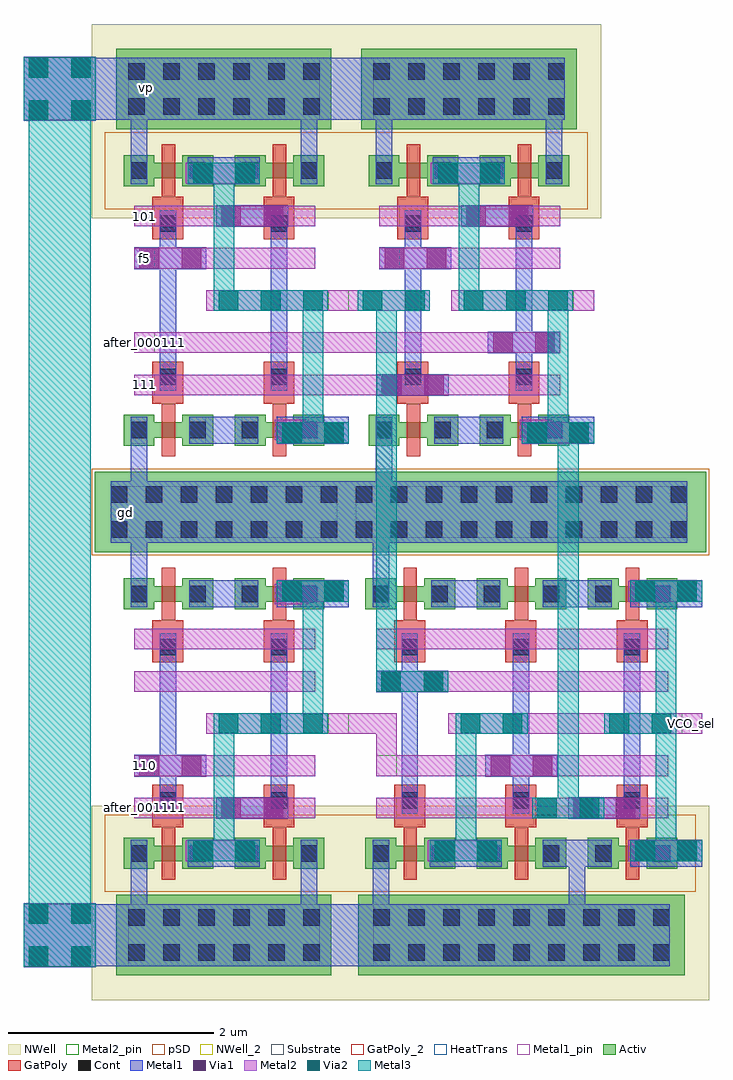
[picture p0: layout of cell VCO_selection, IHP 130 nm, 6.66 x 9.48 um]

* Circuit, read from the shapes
.subckt VCO_selection 101 110 111 VCO_sel after_000111 after_001111 f5 gd vp
XM1 n1 110 gd gd sg13_lv_nmos w=0.15u l=0.13u
XM2 n2 f5 gd gd sg13_lv_nmos w=0.15u l=0.13u
XM3 NAND_3in_3/b after_001111 n1 gd sg13_lv_nmos w=0.15u l=0.13u
XM4 NAND_3in_3/c 101 n2 gd sg13_lv_nmos w=0.15u l=0.13u
XM5 n3 NAND_3in_3/c gd gd sg13_lv_nmos w=0.15u l=0.13u
XM6 n4 111 gd gd sg13_lv_nmos w=0.15u l=0.13u
XM7 n5 NAND_3in_3/b n3 gd sg13_lv_nmos w=0.15u l=0.13u
XM8 NAND_3in_3/a after_000111 n4 gd sg13_lv_nmos w=0.15u l=0.13u
XM9 VCO_sel NAND_3in_3/a n5 gd sg13_lv_nmos w=0.15u l=0.13u
XM10 NAND_3in_3/b 110 vp vp sg13_lv_pmos w=0.15u l=0.13u
XM11 NAND_3in_3/c f5 vp vp sg13_lv_pmos w=0.15u l=0.13u
XM12 vp after_001111 NAND_3in_3/b vp sg13_lv_pmos w=0.15u l=0.13u
XM13 vp 101 NAND_3in_3/c vp sg13_lv_pmos w=0.15u l=0.13u
XM14 VCO_sel NAND_3in_3/c vp vp sg13_lv_pmos w=0.15u l=0.13u
XM15 NAND_3in_3/a 111 vp vp sg13_lv_pmos w=0.15u l=0.13u
XM16 vp NAND_3in_3/b VCO_sel vp sg13_lv_pmos w=0.15u l=0.13u
XM17 vp after_000111 NAND_3in_3/a vp sg13_lv_pmos w=0.15u l=0.13u
XM18 VCO_sel NAND_3in_3/a vp vp sg13_lv_pmos w=0.15u l=0.13u
.ends

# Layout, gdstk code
from math import pi, radians
import gdstk
lib = gdstk.Library(unit=1e-6, precision=1e-09)
def R(c, l, rs):  # rectangles x0, y0, x1, y1
    for r in rs: c.add(gdstk.rectangle(r[:2], r[2:], *l))
def A(c, l, x, y, w, h, nx, ny, dx, dy):  # array of equal rectangles
    R(c, l, [(x+i*dx, y+j*dy, x+i*dx+w, y+j*dy+h) for i in range(nx) for j in range(ny)])
Activ = (1, 0)
GatPoly = (5, 0)
GatPoly_2 = (5, 2)
Cont = (6, 0)
Metal1 = (8, 0)
Metal1_pin = (8, 2)
Metal2 = (10, 0)
Metal2_pin = (10, 2)
pSD = (14, 0)
Via1 = (19, 0)
Via2 = (29, 0)
Metal3 = (30, 0)
NWell = (31, 0)
NWell_2 = (31, 2)
Substrate = (40, 0)
HeatTrans = (51, 0)

via_4_4 = lib.new_cell('Via$4$4')
R(via_4_4, Metal2, [(-0.1,-0.35,0.1,0.35)])
R(via_4_4, Via2, [(-0.095,-0.3,0.095,-0.11), (-0.095,0.11,0.095,0.3)])
R(via_4_4, Metal3, [(-0.1,-0.35,0.1,0.35)])

via_2_4 = lib.new_cell('Via$2$4')
R(via_2_4, Metal1, [(-0.105,-0.35,0.105,0.35)])
R(via_2_4, Metal2, [(-0.1,-0.35,0.1,0.35)])
R(via_2_4, Via1, [(-0.095,-0.3,0.095,-0.11), (-0.095,0.11,0.095,0.3)])

ntap1_4 = lib.new_cell('ntap1$4')
R(ntap1_4, Activ, [(0,0,2.09,0.78)])
A(ntap1_4, Cont, 0.115, 0.14, 0.16, 0.16, 6, 2, 0.34, 0.34)
R(ntap1_4, Metal1, [(0.115,0.09,1.975,0.69)])
R(ntap1_4, Metal1_pin, [(0.115,0.09,1.975,0.69), (0.115,0.14,1.975,0.64)])
R(ntap1_4, NWell, [(-0.24,-0.24,2.33,1.02), (0,0,2.09,0.78)])
R(ntap1_4, NWell_2, [(0,0,2.09,0.78)])
ntap1_4.add(gdstk.Label('well', (1.045,0.01), layer=63, texttype=0))
ntap1_4.add(gdstk.Label('well', (1.045,0.01), layer=31, texttype=0))

ptap1_5 = lib.new_cell('ptap1$5')
R(ptap1_5, Activ, [(0,0,2.51,0.78)])
A(ptap1_5, Cont, 0.155, 0.14, 0.16, 0.16, 7, 2, 0.34, 0.34)
R(ptap1_5, Metal1, [(0.155,0.09,2.355,0.69), (0.155,0.14,2.355,0.64)])
R(ptap1_5, Metal1_pin, [(0.155,0.14,2.355,0.64)])
R(ptap1_5, pSD, [(-0.03,-0.03,2.54,0.81)])
R(ptap1_5, Substrate, [(0,0,2.51,0.78)])
ptap1_5.add(gdstk.Label('sub!', (1.255,0.01), layer=63, texttype=0))
ptap1_5.add(gdstk.Label('sub!', (1.255,0.01), layer=40, texttype=0))

nmos_4 = lib.new_cell('nmos$4')
R(nmos_4, Activ, [(0,0,0.3,0.3), (0.57,0,0.87,0.3), (0,0.075,0.87,0.225)])
R(nmos_4, GatPoly, [(0.37,-0.105,0.5,0.405)])
R(nmos_4, GatPoly_2, [(0.37,-0.105,0.5,0.405)])
R(nmos_4, Cont, [(0.07,0.07,0.23,0.23), (0.64,0.07,0.8,0.23)])
R(nmos_4, Metal1, [(0.07,0.02,0.23,0.28), (0.64,0.02,0.8,0.28)])
R(nmos_4, Metal1_pin, [(0.07,0.02,0.23,0.28), (0.64,0.02,0.8,0.28)])
R(nmos_4, HeatTrans, [(0.37,-0.105,0.5,0.405)])
nmos_4.add(gdstk.Label('nmos', (0.435,0.15), layer=63, texttype=0))
nmos_4.add(gdstk.Label('nmos', (0.435,0.15), layer=51, texttype=0))

pmos_4 = lib.new_cell('pmos$4')
R(pmos_4, Activ, [(0,0,0.3,0.3), (0.57,0,0.87,0.3), (0,0.075,0.87,0.225)])
R(pmos_4, GatPoly, [(0.37,-0.105,0.5,0.405), (0.37,-0.105,0.5,0.405)])
R(pmos_4, Cont, [(0.07,0.07,0.23,0.23), (0.64,0.07,0.8,0.23)])
R(pmos_4, Metal1, [(0.07,0.02,0.23,0.28), (0.07,0.02,0.23,0.28), (0.64,0.02,0.8,0.28), (0.64,0.02,0.8,0.28)])
R(pmos_4, pSD, [(-0.18,-0.225,1.05,0.525)])
R(pmos_4, NWell, [(-0.31,-0.31,1.18,0.61)])
R(pmos_4, Substrate, [(0.57,0,0.87,0.3)])
R(pmos_4, HeatTrans, [(0.37,-0.105,0.5,0.405)])
pmos_4.add(gdstk.Label('pmos', (0.435,0.15), layer=63, texttype=0))
pmos_4.add(gdstk.Label('pmos', (0.435,0.15), layer=51, texttype=0))

via_17 = lib.new_cell('Via$17')
R(via_17, GatPoly, [(-0.15,-0.15,0.15,0.15)])
R(via_17, Cont, [(-0.08,-0.08,0.08,0.08)])
R(via_17, Metal1, [(-0.13,-0.08,0.13,0.08)])

via_7_2 = lib.new_cell('Via$7$2')
R(via_7_2, Metal2, [(-0.555,-0.1,0.555,0.1)])
A(via_7_2, Via2, -0.505, -0.095, 0.19, 0.19, 3, 1, 0.41, 0)
R(via_7_2, Metal3, [(-0.555,-0.1,0.555,0.1)])

via_6_3 = lib.new_cell('Via$6$3')
R(via_6_3, Metal1, [(-0.35,-0.105,0.35,0.105)])
R(via_6_3, Metal2, [(-0.35,-0.1,0.35,0.1)])
R(via_6_3, Via1, [(-0.3,-0.095,-0.11,0.095), (0.11,-0.095,0.3,0.095)])

nand_2in = lib.new_cell('NAND_2in')
R(nand_2in, GatPoly, [(9.375,7.165,9.675,7.275), (10.455,7.165,10.755,7.275), (9.375,9.065,9.675,9.175), (10.455,9.065,10.755,9.175)])
R(nand_2in, Metal1, [(9.735,6.78,10.405,7.04), (10.585,6.78,11.285,7.04), (9.72,9.3,10.42,9.56)])
R(nand_2in, Metal1_pin, [(9.16,6.015,9.36,6.215), (9.325,10.12,9.525,10.32)])
R(nand_2in, Metal2_pin, [(11.085,8.07,11.285,8.27), (9.2,8.48,9.4,8.68), (9.2,8.89,9.4,9.09)])
nand_2in.add(gdstk.FlexPath([(9.245,9.56),(9.245,10.525)], 0.16, ends="flush", simple_path=True, layer=8, datatype=0))  # Metal1
nand_2in.add(gdstk.FlexPath([(10.895,9.56),(10.895,10.525)], 0.16, ends="flush", simple_path=True, layer=8, datatype=0))  # Metal1
nand_2in.add(gdstk.FlexPath([(9.245,6.78),(9.245,6.415)], 0.16, ends="flush", simple_path=True, layer=8, datatype=0))  # Metal1
nand_2in.add(gdstk.FlexPath([(9.525,7.555),(9.525,8.785)], 0.16, ends="flush", simple_path=True, layer=8, datatype=0))  # Metal1
nand_2in.add(gdstk.FlexPath([(10.605,7.555),(10.605,8.785)], 0.16, ends="flush", simple_path=True, layer=8, datatype=0))  # Metal1
nand_2in.add(gdstk.FlexPath([(9.9,8.17),(11.285,8.17)], 0.2, ends="flush", simple_path=True, layer=10, datatype=0))  # Metal2
nand_2in.add(gdstk.FlexPath([(10.895,6.91),(10.565,6.91)], 0.2, ends="flush", simple_path=True, layer=10, datatype=0))  # Metal2
nand_2in.add(gdstk.FlexPath([(9.865,9.405),(9.7,9.405)], 0.2, ends="flush", simple_path=True, layer=10, datatype=0))  # Metal2
nand_2in.add(gdstk.FlexPath([(10.43,8.58),(10.43,8.58)], 0.2, ends="flush", simple_path=True, layer=10, datatype=0))  # Metal2
nand_2in.add(gdstk.FlexPath([(9.2,8.99),(10.955,8.99)], 0.2, ends="flush", simple_path=True, layer=10, datatype=0))  # Metal2
nand_2in.add(gdstk.FlexPath([(9.2,8.58),(10.955,8.58)], 0.2, ends="flush", simple_path=True, layer=10, datatype=0))  # Metal2
nand_2in.add(gdstk.FlexPath([(9.2,7.76),(10.955,7.76)], 0.2, ends="flush", simple_path=True, layer=10, datatype=0))  # Metal2
nand_2in.add(gdstk.FlexPath([(9.2,7.35),(10.955,7.35)], 0.2, ends="flush", simple_path=True, layer=10, datatype=0))  # Metal2
nand_2in.add(gdstk.FlexPath([(10.07,9.305),(10.07,8.07)], 0.2, ends="flush", simple_path=True, layer=30, datatype=0))  # Metal3
nand_2in.add(gdstk.FlexPath([(10.935,6.885),(10.935,8.07)], 0.2, ends="flush", simple_path=True, layer=30, datatype=0))  # Metal3
nand_2in.add(gdstk.Reference(via_4_4, (10.935,6.885), rotation=3*pi/2))
nand_2in.add(gdstk.Reference(via_2_4, (10.935,6.885), rotation=3*pi/2))
nand_2in.add(gdstk.Reference(ntap1_4, (9.025,9.835)))
nand_2in.add(gdstk.Reference(ptap1_5, (8.815,5.725)))
nand_2in.add(gdstk.Reference(nmos_4, (10.175,6.76)))
nand_2in.add(gdstk.Reference(pmos_4, (10.175,9.28)))
nand_2in.add(gdstk.Reference(nmos_4, (9.095,6.76)))
nand_2in.add(gdstk.Reference(pmos_4, (9.095,9.28)))
nand_2in.add(gdstk.Reference(via_17, (9.525,8.915), rotation=pi/2))
nand_2in.add(gdstk.Reference(via_17, (10.605,8.915), rotation=pi/2))
nand_2in.add(gdstk.Reference(via_17, (10.605,7.425), rotation=3*pi/2))
nand_2in.add(gdstk.Reference(via_17, (9.525,7.425), rotation=3*pi/2))
nand_2in.add(gdstk.Reference(via_2_4, (9.55,8.58), rotation=3*pi/2))
nand_2in.add(gdstk.Reference(via_7_2, (10.525,8.17)))
nand_2in.add(gdstk.Reference(via_2_4, (10.07,9.405), rotation=3*pi/2))
nand_2in.add(gdstk.Reference(via_4_4, (10.07,9.405), rotation=3*pi/2))
nand_2in.add(gdstk.Reference(via_6_3, (10.345,8.99)))
nand_2in.add(gdstk.Label('y', (11.185,8.17), layer=10, texttype=25))
nand_2in.add(gdstk.Label('b', (9.315,8.575), layer=10, texttype=25))
nand_2in.add(gdstk.Label('a', (9.3,8.99), layer=10, texttype=25))
nand_2in.add(gdstk.Label('VP', (9.295,10.22), layer=8, texttype=25))
nand_2in.add(gdstk.Label('GND', (9.26,6.115), layer=8, texttype=25))

ntap1_2 = lib.new_cell('ntap1$2')
R(ntap1_2, Activ, [(0,0,3.17,0.78)])
A(ntap1_2, Cont, 0.145, 0.14, 0.16, 0.16, 9, 2, 0.34, 0.34)
R(ntap1_2, Metal1, [(0.145,0.09,3.025,0.69)])
R(ntap1_2, Metal1_pin, [(0.145,0.09,3.025,0.69), (0.145,0.14,3.025,0.64)])
R(ntap1_2, NWell, [(-0.24,-0.24,3.41,1.02), (0,0,3.17,0.78)])
R(ntap1_2, NWell_2, [(0,0,3.17,0.78)])
ntap1_2.add(gdstk.Label('well', (1.585,0.01), layer=63, texttype=0))
ntap1_2.add(gdstk.Label('well', (1.585,0.01), layer=31, texttype=0))

ptap1_3 = lib.new_cell('ptap1$3')
R(ptap1_3, Activ, [(0,0,3.59,0.78)])
A(ptap1_3, Cont, 0.185, 0.14, 0.16, 0.16, 10, 2, 0.34, 0.34)
R(ptap1_3, Metal1, [(0.185,0.09,3.405,0.69), (0.185,0.14,3.405,0.64)])
R(ptap1_3, Metal1_pin, [(0.185,0.14,3.405,0.64)])
R(ptap1_3, pSD, [(-0.03,-0.03,3.62,0.81)])
R(ptap1_3, Substrate, [(0,0,3.59,0.78)])
ptap1_3.add(gdstk.Label('sub!', (1.795,0.01), layer=63, texttype=0))
ptap1_3.add(gdstk.Label('sub!', (1.795,0.01), layer=40, texttype=0))

nmos_2 = lib.new_cell('nmos$2')
R(nmos_2, Activ, [(0,0,0.3,0.3), (0.57,0,0.87,0.3), (0,0.075,0.87,0.225)])
R(nmos_2, GatPoly, [(0.37,-0.105,0.5,0.405)])
R(nmos_2, GatPoly_2, [(0.37,-0.105,0.5,0.405)])
R(nmos_2, Cont, [(0.07,0.07,0.23,0.23), (0.64,0.07,0.8,0.23)])
R(nmos_2, Metal1, [(0.07,0.02,0.23,0.28), (0.64,0.02,0.8,0.28)])
R(nmos_2, Metal1_pin, [(0.07,0.02,0.23,0.28), (0.64,0.02,0.8,0.28)])
R(nmos_2, HeatTrans, [(0.37,-0.105,0.5,0.405)])
nmos_2.add(gdstk.Label('nmos', (0.435,0.15), layer=63, texttype=0))
nmos_2.add(gdstk.Label('nmos', (0.435,0.15), layer=51, texttype=0))

pmos_2 = lib.new_cell('pmos$2')
R(pmos_2, Activ, [(0,0,0.3,0.3), (0.57,0,0.87,0.3), (0,0.075,0.87,0.225)])
R(pmos_2, GatPoly, [(0.37,-0.105,0.5,0.405), (0.37,-0.105,0.5,0.405)])
R(pmos_2, Cont, [(0.07,0.07,0.23,0.23), (0.64,0.07,0.8,0.23)])
R(pmos_2, Metal1, [(0.07,0.02,0.23,0.28), (0.07,0.02,0.23,0.28), (0.64,0.02,0.8,0.28), (0.64,0.02,0.8,0.28)])
R(pmos_2, pSD, [(-0.18,-0.225,1.05,0.525)])
R(pmos_2, NWell, [(-0.31,-0.31,1.18,0.61)])
R(pmos_2, Substrate, [(0.57,0,0.87,0.3)])
R(pmos_2, HeatTrans, [(0.37,-0.105,0.5,0.405)])
pmos_2.add(gdstk.Label('pmos', (0.435,0.15), layer=63, texttype=0))
pmos_2.add(gdstk.Label('pmos', (0.435,0.15), layer=51, texttype=0))

via_14 = lib.new_cell('Via$14')
R(via_14, GatPoly, [(-0.15,-0.15,0.15,0.15)])
R(via_14, Cont, [(-0.08,-0.08,0.08,0.08)])
R(via_14, Metal1, [(-0.13,-0.08,0.13,0.08)])

via_2_2 = lib.new_cell('Via$2$2')
R(via_2_2, Metal1, [(-0.105,-0.35,0.105,0.35)])
R(via_2_2, Metal2, [(-0.1,-0.35,0.1,0.35)])
R(via_2_2, Via1, [(-0.095,-0.3,0.095,-0.11), (-0.095,0.11,0.095,0.3)])

via_8_1 = lib.new_cell('Via$8$1')
R(via_8_1, Metal2, [(-0.35,-0.1,0.35,0.1)])
R(via_8_1, Via2, [(-0.3,-0.095,-0.11,0.095), (0.11,-0.095,0.3,0.095)])
R(via_8_1, Metal3, [(-0.35,-0.1,0.35,0.1)])

via_4_2 = lib.new_cell('Via$4$2')
R(via_4_2, Metal2, [(-0.1,-0.35,0.1,0.35)])
R(via_4_2, Via2, [(-0.095,-0.3,0.095,-0.11), (-0.095,0.11,0.095,0.3)])
R(via_4_2, Metal3, [(-0.1,-0.35,0.1,0.35)])

via_6_1 = lib.new_cell('Via$6$1')
R(via_6_1, Metal1, [(-0.35,-0.105,0.35,0.105)])
R(via_6_1, Metal2, [(-0.35,-0.1,0.35,0.1)])
R(via_6_1, Via1, [(-0.3,-0.095,-0.11,0.095), (0.11,-0.095,0.3,0.095)])

nand_3in = lib.new_cell('NAND_3in')
A(nand_3in, GatPoly, 9.375, 7.165, 0.3, 0.11, 3, 2, 1.08, 1.9)
R(nand_3in, Metal1, [(9.735,6.78,10.405,7.04), (10.815,6.78,11.485,7.04), (11.665,6.78,12.365,7.04), (9.72,9.3,10.42,9.56), (10.815,9.3,11.485,9.56), (11.665,9.3,12.365,9.56)])
R(nand_3in, Metal1_pin, [(9.16,6.015,9.36,6.215), (9.325,10.12,9.525,10.32)])
R(nand_3in, Metal2_pin, [(9.2,7.66,9.4,7.86), (12.165,8.07,12.365,8.27), (9.2,8.48,9.4,8.68), (9.2,8.89,9.4,9.09)])
nand_3in.add(gdstk.FlexPath([(11.685,7.555),(11.685,8.785)], 0.16, ends="flush", simple_path=True, layer=8, datatype=0))  # Metal1
nand_3in.add(gdstk.FlexPath([(11.15,9.56),(11.15,9.925)], 0.16, ends="flush", simple_path=True, layer=8, datatype=0))  # Metal1
nand_3in.add(gdstk.FlexPath([(9.245,9.56),(9.245,10.525)], 0.16, ends="flush", simple_path=True, layer=8, datatype=0))  # Metal1
nand_3in.add(gdstk.FlexPath([(9.245,6.78),(9.245,6.415)], 0.16, ends="flush", simple_path=True, layer=8, datatype=0))  # Metal1
nand_3in.add(gdstk.FlexPath([(9.525,7.555),(9.525,8.785)], 0.16, ends="flush", simple_path=True, layer=8, datatype=0))  # Metal1
nand_3in.add(gdstk.FlexPath([(10.605,7.555),(10.605,8.785)], 0.16, ends="flush", simple_path=True, layer=8, datatype=0))  # Metal1
nand_3in.add(gdstk.FlexPath([(9.9,8.17),(12.365,8.17)], 0.2, ends="flush", simple_path=True, layer=10, datatype=0))  # Metal2
nand_3in.add(gdstk.FlexPath([(11.81,9.405),(11.645,9.405)], 0.2, ends="flush", simple_path=True, layer=10, datatype=0))  # Metal2
nand_3in.add(gdstk.FlexPath([(11.81,6.885),(11.645,6.885)], 0.2, ends="flush", simple_path=True, layer=10, datatype=0))  # Metal2
nand_3in.add(gdstk.FlexPath([(9.2,7.76),(12.035,7.76)], 0.2, ends="flush", simple_path=True, layer=10, datatype=0))  # Metal2
nand_3in.add(gdstk.FlexPath([(9.2,7.35),(12.035,7.35)], 0.2, ends="flush", simple_path=True, layer=10, datatype=0))  # Metal2
nand_3in.add(gdstk.FlexPath([(9.2,8.99),(12.035,8.99)], 0.2, ends="flush", simple_path=True, layer=10, datatype=0))  # Metal2
nand_3in.add(gdstk.FlexPath([(9.2,8.58),(12.035,8.58)], 0.2, ends="flush", simple_path=True, layer=10, datatype=0))  # Metal2
nand_3in.add(gdstk.FlexPath([(9.865,9.405),(9.7,9.405)], 0.2, ends="flush", simple_path=True, layer=10, datatype=0))  # Metal2
nand_3in.add(gdstk.FlexPath([(10.43,8.58),(10.43,8.58)], 0.2, ends="flush", simple_path=True, layer=10, datatype=0))  # Metal2
nand_3in.add(gdstk.FlexPath([(12.015,6.885),(12.015,8.17)], 0.2, ends="flush", simple_path=True, layer=30, datatype=0))  # Metal3
nand_3in.add(gdstk.FlexPath([(12.015,9.405),(12.015,8.17)], 0.2, ends="flush", simple_path=True, layer=30, datatype=0))  # Metal3
nand_3in.add(gdstk.FlexPath([(10.07,9.305),(10.07,8.07)], 0.2, ends="flush", simple_path=True, layer=30, datatype=0))  # Metal3
nand_3in.add(gdstk.Reference(ntap1_2, (9.025,9.835)))
nand_3in.add(gdstk.Reference(ptap1_3, (8.815,5.725)))
nand_3in.add(gdstk.Reference(nmos_2, (10.175,6.76)))
nand_3in.add(gdstk.Reference(pmos_2, (10.175,9.28)))
nand_3in.add(gdstk.Reference(nmos_2, (9.095,6.76)))
nand_3in.add(gdstk.Reference(pmos_2, (9.095,9.28)))
nand_3in.add(gdstk.Reference(via_14, (9.525,8.915), rotation=pi/2))
nand_3in.add(gdstk.Reference(via_14, (10.605,8.915), rotation=pi/2))
nand_3in.add(gdstk.Reference(via_14, (10.605,7.425), rotation=3*pi/2))
nand_3in.add(gdstk.Reference(via_14, (9.525,7.425), rotation=3*pi/2))
nand_3in.add(gdstk.Reference(via_2_2, (10.61,8.58), rotation=3*pi/2))
nand_3in.add(gdstk.Reference(via_8_1, (10.32,8.17)))
nand_3in.add(gdstk.Reference(via_2_2, (10.07,9.405), rotation=3*pi/2))
nand_3in.add(gdstk.Reference(via_4_2, (10.07,9.405), rotation=3*pi/2))
nand_3in.add(gdstk.Reference(via_6_1, (11.415,8.99)))
nand_3in.add(gdstk.Reference(pmos_2, (11.255,9.28)))
nand_3in.add(gdstk.Reference(nmos_2, (11.255,6.76)))
nand_3in.add(gdstk.Reference(via_14, (11.685,8.915), rotation=pi/2))
nand_3in.add(gdstk.Reference(via_14, (11.685,7.425), rotation=3*pi/2))
nand_3in.add(gdstk.Reference(via_2_2, (9.55,7.76), rotation=3*pi/2))
nand_3in.add(gdstk.Reference(via_2_2, (12.015,9.405), rotation=3*pi/2))
nand_3in.add(gdstk.Reference(via_4_2, (12.015,9.405), rotation=3*pi/2))
nand_3in.add(gdstk.Reference(via_2_2, (12.015,6.885), rotation=3*pi/2))
nand_3in.add(gdstk.Reference(via_4_2, (12.015,6.885), rotation=3*pi/2))
nand_3in.add(gdstk.Reference(via_8_1, (11.765,8.17)))
nand_3in.add(gdstk.Label('c', (9.315,7.755), layer=10, texttype=25))
nand_3in.add(gdstk.Label('y', (12.265,8.17), layer=10, texttype=25))
nand_3in.add(gdstk.Label('b', (9.315,8.575), layer=10, texttype=25))
nand_3in.add(gdstk.Label('a', (9.3,8.99), layer=10, texttype=25))
nand_3in.add(gdstk.Label('VP', (9.295,10.22), layer=8, texttype=25))
nand_3in.add(gdstk.Label('GND', (9.26,6.115), layer=8, texttype=25))

via_10_1 = lib.new_cell('Via$10$1')
R(via_10_1, Metal2, [(-0.35,-0.1,0.35,0.1)])
R(via_10_1, Via2, [(-0.3,-0.095,-0.11,0.095), (0.11,-0.095,0.3,0.095)])
R(via_10_1, Metal3, [(-0.35,-0.1,0.35,0.1)])

via_12_1 = lib.new_cell('Via$12$1')
R(via_12_1, Metal2, [(-0.35,-0.1,0.35,0.1)])
R(via_12_1, Via2, [(-0.3,-0.095,-0.11,0.095), (0.11,-0.095,0.3,0.095)])
R(via_12_1, Metal3, [(-0.35,-0.1,0.35,0.1)])

via_14_2 = lib.new_cell('Via$14$2')
R(via_14_2, Metal1, [(-0.35,-0.105,0.35,0.105)])
R(via_14_2, Metal2, [(-0.35,-0.1,0.35,0.1)])
R(via_14_2, Via1, [(-0.3,-0.095,-0.11,0.095), (0.11,-0.095,0.3,0.095)])

via_15_1 = lib.new_cell('Via$15$1')
R(via_15_1, Metal2, [(-0.35,-0.305,0.35,0.305)])
R(via_15_1, Via2, [(-0.3,-0.3,-0.11,-0.11), (0.11,-0.3,0.3,-0.11), (-0.3,0.11,-0.11,0.3), (0.11,0.11,0.3,0.3)])
R(via_15_1, Metal3, [(-0.35,-0.305,0.35,0.305)])

via_19_1 = lib.new_cell('Via$19$1')
R(via_19_1, Metal1, [(-0.35,-0.31,0.35,0.31)])
R(via_19_1, Metal2, [(-0.35,-0.305,0.35,0.305)])
R(via_19_1, Via1, [(-0.3,-0.3,-0.11,-0.11), (0.11,-0.3,0.3,-0.11), (-0.3,0.11,-0.11,0.3), (0.11,0.11,0.3,0.3)])

vco_selection = lib.new_cell('VCO_selection')
R(vco_selection, Metal1, [(13.685,0.83,14.405,1.43), (13.84,4.94,14.175,5.54), (13.58,9.05,14.325,9.65)])
R(vco_selection, Metal1_pin, [(11.695,5.135,11.895,5.335), (11.9,9.26,12.1,9.46)])
R(vco_selection, Metal2_pin, [(11.885,2.265,12.085,2.465), (11.885,2.675,12.085,2.875), (17.2,3.085,17.4,3.285), (11.885,6.375,12.085,6.575), (11.885,6.785,12.085,6.985), (11.885,7.605,12.085,7.805), (11.885,8.015,12.085,8.215)])
R(vco_selection, pSD, [(13.87,1.55,14,2.3), (13.91,8.18,14.075,8.93)])
vco_selection.add(gdstk.FlexPath([(14.59,6.475),(14.59,6.475)], 0.16, ends="flush", simple_path=True, layer=8, datatype=0))  # Metal1
vco_selection.add(gdstk.FlexPath([(11.825,1.13),(11.16,1.13)], 0.6, ends="flush", simple_path=True, layer=8, datatype=0))  # Metal1
vco_selection.add(gdstk.FlexPath([(11.16,1.13),(11.16,1.13)], 0.6, ends="flush", simple_path=True, layer=8, datatype=0))  # Metal1
vco_selection.add(gdstk.FlexPath([(11.825,9.35),(11.16,9.35)], 0.6, ends="flush", simple_path=True, layer=8, datatype=0))  # Metal1
vco_selection.add(gdstk.FlexPath([(11.16,9.35),(11.16,9.35)], 0.6, ends="flush", simple_path=True, layer=8, datatype=0))  # Metal1
vco_selection.add(gdstk.FlexPath([(13.64,6.885),(14.265,6.885)], 0.2, ends="flush", simple_path=True, layer=10, datatype=0))  # Metal2
vco_selection.add(gdstk.FlexPath([(13.64,6.475),(14.265,6.475)], 0.2, ends="flush", simple_path=True, layer=10, datatype=0))  # Metal2
vco_selection.add(gdstk.FlexPath([(13.97,3.185),(14.335,3.185),(14.335,2.675)], 0.2, ends="flush", simple_path=True, layer=10, datatype=0))  # Metal2
vco_selection.add(gdstk.FlexPath([(14.61,3.595),(14.61,3.595)], 0.2, ends="flush", simple_path=True, layer=10, datatype=0))  # Metal2
vco_selection.add(gdstk.FlexPath([(14.47,7.295),(14.47,7.295)], 0.2, ends="flush", simple_path=True, layer=10, datatype=0))  # Metal2
vco_selection.add(gdstk.FlexPath([(13.97,7.295),(14.055,7.295)], 0.2, ends="flush", simple_path=True, layer=10, datatype=0))  # Metal2
vco_selection.add(gdstk.FlexPath([(11.16,1.13),(11.16,1.13)], 0.2, ends="flush", simple_path=True, layer=10, datatype=0))  # Metal2
vco_selection.add(gdstk.FlexPath([(11.16,9.35),(11.16,9.35)], 0.2, ends="flush", simple_path=True, layer=10, datatype=0))  # Metal2
vco_selection.add(gdstk.FlexPath([(16.1,6.01),(16.1,2.365)], 0.2, ends="flush", simple_path=True, layer=30, datatype=0))  # Metal3
vco_selection.add(gdstk.FlexPath([(14.335,3.595),(14.335,7.395)], 0.2, ends="flush", simple_path=True, layer=30, datatype=0))  # Metal3
vco_selection.add(gdstk.FlexPath([(11.16,1.13),(11.16,9.43)], 0.6, ends="flush", simple_path=True, layer=30, datatype=0))  # Metal3
vco_selection.add(gdstk.Reference(nand_2in, (2.685,-0.875)))
vco_selection.add(gdstk.Reference(nand_2in, (5.065,-0.875)))
vco_selection.add(gdstk.Reference(nand_2in, (2.685,11.355), x_reflection=True))
vco_selection.add(gdstk.Reference(nand_3in, (5.035,11.355), x_reflection=True))
vco_selection.add(gdstk.Reference(via_10_1, (16.1,2.365)))
vco_selection.add(gdstk.Reference(via_12_1, (14.585,3.595)))
vco_selection.add(gdstk.Reference(via_12_1, (14.405,7.295)))
vco_selection.add(gdstk.Reference(via_14_2, (14.59,6.475)))
vco_selection.add(gdstk.Reference(via_14_2, (15.67,6.885)))
vco_selection.add(gdstk.Reference(via_15_1, (11.16,1.13)))
vco_selection.add(gdstk.Reference(via_19_1, (11.16,1.13)))
vco_selection.add(gdstk.Reference(via_15_1, (11.16,9.35)))
vco_selection.add(gdstk.Reference(via_19_1, (11.16,9.35)))
vco_selection.add(gdstk.Label('after_000111', (11.985,6.885), layer=10, texttype=25))
vco_selection.add(gdstk.Label('111', (11.985,6.475), layer=10, texttype=25))
vco_selection.add(gdstk.Label('101', (11.985,8.115), layer=10, texttype=25))
vco_selection.add(gdstk.Label('f5', (11.985,7.705), layer=10, texttype=25))
vco_selection.add(gdstk.Label('after_001111', (11.985,2.365), layer=10, texttype=25))
vco_selection.add(gdstk.Label('110', (11.985,2.775), layer=10, texttype=25))
vco_selection.add(gdstk.Label('VCO_sel', (17.3,3.185), layer=10, texttype=25))
vco_selection.add(gdstk.Label('vp', (12,9.36), layer=8, texttype=25))
vco_selection.add(gdstk.Label('gd', (11.795,5.235), layer=8, texttype=25))

lib.write_gds('VCO_selection.gds')
